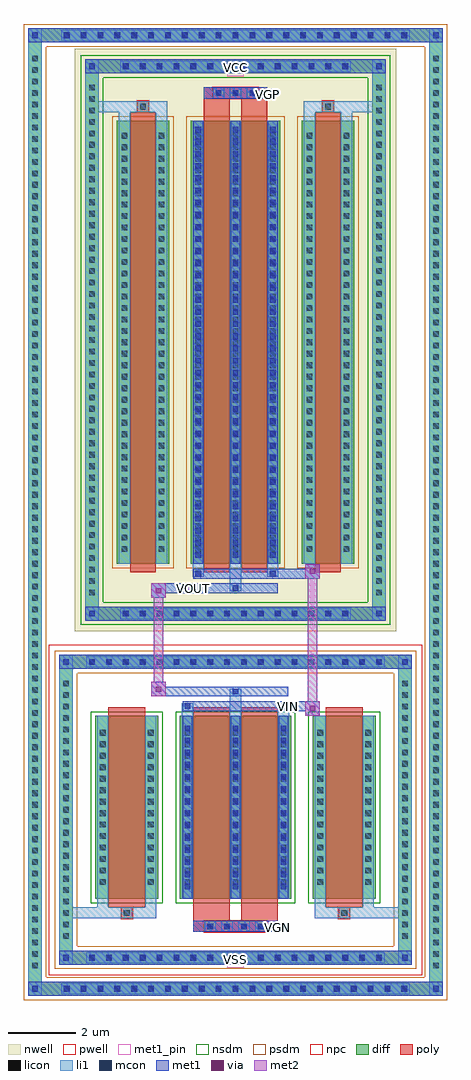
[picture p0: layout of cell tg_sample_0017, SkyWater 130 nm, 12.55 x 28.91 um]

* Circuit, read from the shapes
.subckt tg_sample_0017 VCC VGN VGP VIN VOUT VSS
XM1 VSS VSS VSS VSUBS sky130_fd_pr__nfet_01v8 w=5.42 l=1.09 m=2
XM2 VOUT VGN VIN VSUBS sky130_fd_pr__nfet_01v8 w=5.42 l=1.09 m=2
XM3 VCC VCC VCC n1 sky130_fd_pr__pfet_01v8 w=13.13 l=0.77 m=2
XM4 VOUT VGP VIN n1 sky130_fd_pr__pfet_01v8 w=13.13 l=0.77 m=2
.ends

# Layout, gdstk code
import gdstk
lib = gdstk.Library(unit=1e-6, precision=5e-09)
def R(c, l, rs):  # rectangles x0, y0, x1, y1
    for r in rs: c.add(gdstk.rectangle(r[:2], r[2:], *l))
def A(c, l, x, y, w, h, nx, ny, dx, dy):  # array of equal rectangles
    R(c, l, [(x+i*dx, y+j*dy, x+i*dx+w, y+j*dy+h) for i in range(nx) for j in range(ny)])
def P(c, l, *ps):  # polygons
    for p in ps: c.add(gdstk.Polygon(p, *l))
nwell = (64, 20)
pwell = (64, 44)
diff = (65, 20)
poly = (66, 20)
licon = (66, 44)
li1 = (67, 20)
mcon = (67, 44)
met1_pin = (68, 16)
met1 = (68, 20)
via = (68, 44)
met2 = (69, 20)
nsdm = (93, 44)
psdm = (94, 20)
npc = (95, 20)

tg_sample_0017 = lib.new_cell('tg_sample_0017')
R(tg_sample_0017, nwell, [(-4.765,5.295,4.765,22.535)])
R(tg_sample_0017, pwell, [(-5.535,-4.895,5.535,4.895)])
A(tg_sample_0017, diff, -5.205, -5.505, 0.41, 0.41, 21, 2, 0.5, 28.24)
A(tg_sample_0017, diff, -6.145, -4.815, 0.41, 0.41, 1, 80, 0, 0.34)
A(tg_sample_0017, diff, 5.735, -4.815, 0.41, 0.41, 1, 80, 0, 0.34)
A(tg_sample_0017, diff, -4.455, -4.585, 0.41, 0.41, 18, 2, 0.5, 8.76)
A(tg_sample_0017, diff, -5.225, -3.945, 0.41, 0.41, 1, 23, 0, 0.34)
A(tg_sample_0017, diff, 4.815, -3.945, 0.41, 0.41, 1, 23, 0, 0.34)
A(tg_sample_0017, diff, -3.455, 5.605, 0.41, 0.41, 14, 2, 0.5, 16.21)
A(tg_sample_0017, diff, -4.455, 6.23, 0.41, 0.41, 1, 45, 0, 0.34)
A(tg_sample_0017, diff, 4.045, 6.23, 0.41, 0.41, 1, 45, 0, 0.34)
R(tg_sample_0017, diff, [(-5.205,-5.505,5.205,-5.095), (-6.145,-4.815,-5.735,22.455), (5.735,-4.815,6.145,22.455), (-4.455,-4.585,4.455,-4.175), (-5.225,-3.945,-4.815,3.945), (4.815,-3.945,5.225,3.945), (-4.155,-2.64,-2.285,2.78), (-1.645,-2.64,1.645,2.78), (2.285,-2.64,4.155,2.78), (-4.455,4.175,4.455,4.585), (-3.455,5.605,3.455,6.015), (-4.455,6.23,-4.045,21.6), (4.045,6.23,4.455,21.6), (-3.515,7.28,-1.965,20.41), (-1.325,7.28,1.325,20.41), (1.965,7.28,3.515,20.41), (-3.455,21.815,3.455,22.225), (-5.205,22.735,5.205,23.145)])
P(tg_sample_0017, diff, [(5.225,4.585),(-5.225,4.585),(-5.225,-4.175),(-4.815,-4.175),(-4.815,4.175),(4.815,4.175),(4.815,-4.175),(-4.815,-4.175),(-5.225,-4.175),(-5.225,-4.585),(5.225,-4.585)],
  [(6.145,23.145),(-6.145,23.145),(-6.145,-5.095),(-5.735,-5.095),(-5.735,22.735),(5.735,22.735),(5.735,-5.095),(-5.735,-5.095),(-6.145,-5.095),(-6.145,-5.505),(6.145,-5.505)],
  [(4.455,5.605),(-4.455,5.605),(-4.455,21.815),(-4.045,21.815),(-4.045,6.015),(4.045,6.015),(4.045,21.815),(-4.045,21.815),(-4.455,21.815),(-4.455,22.225),(4.455,22.225)])
A(tg_sample_0017, poly, -0.915, -3.62, 0.33, 0.33, 4, 1, 0.5, 0)
A(tg_sample_0017, poly, -0.665, 21.065, 0.33, 0.33, 3, 1, 0.5, 0)
R(tg_sample_0017, poly, [(-1.255,-3.62,1.255,-3.29), (-1.255,-3.29,-0.165,-2.89), (0.165,-3.29,1.255,-2.89), (-3.385,-3.22,-3.055,-2.89), (-3.385,-3.22,-3.055,-2.89), (3.055,-3.22,3.385,-2.89), (3.055,-3.22,3.385,-2.89), (-3.765,-2.89,-2.675,3.03), (-1.255,-2.89,-0.165,3.03), (0.165,-2.89,1.255,3.03), (2.675,-2.89,3.765,3.03), (-3.125,7.03,-2.355,20.66), (-0.935,7.03,-0.165,20.66), (0.165,7.03,0.935,20.66), (2.355,7.03,3.125,20.66), (-2.905,20.66,-2.575,20.99), (-2.905,20.66,-2.575,20.99), (-0.935,20.66,-0.165,21.065), (0.165,20.66,0.935,21.065), (2.575,20.66,2.905,20.99), (2.575,20.66,2.905,20.99), (-0.935,21.065,0.935,21.395)])
A(tg_sample_0017, licon, -5.085, -5.385, 0.17, 0.17, 21, 2, 0.5, 28.24)
A(tg_sample_0017, licon, -6.025, -4.695, 0.17, 0.17, 1, 80, 0, 0.34)
A(tg_sample_0017, licon, 5.855, -4.695, 0.17, 0.17, 1, 80, 0, 0.34)
A(tg_sample_0017, licon, -4.335, -4.465, 0.17, 0.17, 18, 2, 0.5, 8.76)
A(tg_sample_0017, licon, -5.105, -3.825, 0.17, 0.17, 1, 23, 0, 0.34)
A(tg_sample_0017, licon, 4.935, -3.825, 0.17, 0.17, 1, 23, 0, 0.34)
A(tg_sample_0017, licon, -0.835, -3.54, 0.17, 0.17, 4, 1, 0.5, 0)
A(tg_sample_0017, licon, -4.015, -2.225, 0.17, 0.17, 1, 14, 0, 0.34)
A(tg_sample_0017, licon, -2.595, -2.225, 0.17, 0.17, 1, 14, 0, 0.34)
A(tg_sample_0017, licon, -1.505, -2.225, 0.17, 0.17, 3, 14, 1.42, 0.34)
A(tg_sample_0017, licon, 2.425, -2.225, 0.17, 0.17, 1, 14, 0, 0.34)
A(tg_sample_0017, licon, 3.845, -2.225, 0.17, 0.17, 1, 14, 0, 0.34)
A(tg_sample_0017, licon, -3.335, 5.725, 0.17, 0.17, 14, 2, 0.5, 16.21)
A(tg_sample_0017, licon, -4.335, 6.35, 0.17, 0.17, 1, 45, 0, 0.34)
A(tg_sample_0017, licon, 4.165, 6.35, 0.17, 0.17, 1, 45, 0, 0.34)
A(tg_sample_0017, licon, -3.375, 7.64, 0.17, 0.17, 1, 37, 0, 0.34)
A(tg_sample_0017, licon, -2.275, 7.64, 0.17, 0.17, 1, 37, 0, 0.34)
A(tg_sample_0017, licon, -1.185, 7.64, 0.17, 0.17, 3, 37, 1.1, 0.34)
A(tg_sample_0017, licon, 2.105, 7.64, 0.17, 0.17, 1, 37, 0, 0.34)
A(tg_sample_0017, licon, 3.205, 7.64, 0.17, 0.17, 1, 37, 0, 0.34)
A(tg_sample_0017, licon, -0.585, 21.145, 0.17, 0.17, 3, 1, 0.5, 0)
R(tg_sample_0017, licon, [(-3.305,-3.14,-3.135,-2.97), (3.135,-3.14,3.305,-2.97), (-2.825,20.74,-2.655,20.91), (2.655,20.74,2.825,20.91)])
A(tg_sample_0017, li1, -5.165, -5.465, 0.33, 0.33, 21, 2, 0.5, 28.24)
A(tg_sample_0017, li1, -6.105, -4.775, 0.33, 0.33, 1, 80, 0, 0.34)
A(tg_sample_0017, li1, 5.775, -4.775, 0.33, 0.33, 1, 80, 0, 0.34)
A(tg_sample_0017, li1, -4.415, -4.545, 0.33, 0.33, 18, 2, 0.5, 8.76)
A(tg_sample_0017, li1, -5.185, -3.905, 0.33, 0.33, 1, 23, 0, 0.34)
A(tg_sample_0017, li1, 4.855, -3.905, 0.33, 0.33, 1, 23, 0, 0.34)
A(tg_sample_0017, li1, -0.915, -3.62, 0.33, 0.33, 4, 1, 0.5, 0)
A(tg_sample_0017, li1, -1.585, -2.64, 0.33, 5.42, 3, 1, 1.42, 0)
A(tg_sample_0017, li1, -1.505, -2.355, 0.17, 0.17, 3, 14, 1.42, 0.36)
A(tg_sample_0017, li1, -1.505, -2.355, 0.17, 4.85, 3, 1, 1.42, 0)
A(tg_sample_0017, li1, -4.095, -2.305, 0.33, 0.33, 1, 14, 0, 0.34)
A(tg_sample_0017, li1, -2.675, -2.305, 0.33, 0.33, 1, 14, 0, 0.34)
A(tg_sample_0017, li1, -1.585, -2.305, 0.33, 0.33, 3, 14, 1.42, 0.34)
A(tg_sample_0017, li1, 2.345, -2.305, 0.33, 0.33, 1, 14, 0, 0.34)
A(tg_sample_0017, li1, 3.765, -2.305, 0.33, 0.33, 1, 14, 0, 0.34)
A(tg_sample_0017, li1, -3.415, 5.645, 0.33, 0.33, 14, 2, 0.5, 16.21)
A(tg_sample_0017, li1, -4.415, 6.27, 0.33, 0.33, 1, 45, 0, 0.34)
A(tg_sample_0017, li1, 4.085, 6.27, 0.33, 0.33, 1, 45, 0, 0.34)
A(tg_sample_0017, li1, -1.265, 7.28, 0.33, 13.13, 3, 1, 1.1, 0)
A(tg_sample_0017, li1, -1.185, 7.46, 0.17, 0.17, 3, 36, 1.1, 0.36)
A(tg_sample_0017, li1, -1.185, 7.46, 0.17, 12.77, 3, 1, 1.1, 0)
A(tg_sample_0017, li1, -3.455, 7.56, 0.33, 0.33, 1, 37, 0, 0.34)
A(tg_sample_0017, li1, -2.355, 7.56, 0.33, 0.33, 1, 37, 0, 0.34)
A(tg_sample_0017, li1, -1.265, 7.56, 0.33, 0.33, 3, 37, 1.1, 0.34)
A(tg_sample_0017, li1, 2.025, 7.56, 0.33, 0.33, 1, 37, 0, 0.34)
A(tg_sample_0017, li1, 3.125, 7.56, 0.33, 0.33, 1, 37, 0, 0.34)
A(tg_sample_0017, li1, -0.665, 21.065, 0.33, 0.33, 3, 1, 0.5, 0)
R(tg_sample_0017, li1, [(-6.145,-5.505,-5.735,-5.095), (5.735,-5.505,6.145,-5.095), (-5.165,-5.465,5.165,-5.135), (-6.025,-5.385,-5.855,-5.215), (-6.025,-5.385,-5.855,-5.215), (5.855,-5.385,6.025,-5.215), (5.855,-5.385,6.025,-5.215), (-6.145,-5.095,-5.735,22.735), (5.735,-5.095,6.145,22.735), (-5.225,-4.585,-4.815,-4.175), (4.815,-4.585,5.225,-4.175), (-4.415,-4.545,4.415,-4.215), (-5.105,-4.465,-4.935,-4.295), (-5.105,-4.465,-4.935,-4.295), (4.935,-4.465,5.105,-4.295), (4.935,-4.465,5.105,-4.295), (-5.225,-4.175,-4.815,4.175), (4.815,-4.175,5.225,4.175), (-5.225,-3.22,-3.385,-2.89), (-4.095,-3.22,-3.385,-2.89), (-4.095,-3.22,-3.765,-2.64), (-3.385,-3.22,-3.055,-2.89), (-3.055,-3.22,-2.345,-2.89), (-2.675,-3.22,-2.345,-2.64), (2.345,-3.22,3.055,-2.89), (2.345,-3.22,2.675,-2.64), (3.055,-3.22,3.385,-2.89), (3.055,-3.22,5.225,-2.89), (3.385,-3.22,4.095,-2.89), (3.765,-3.22,4.095,-2.64), (-4.095,-2.64,-3.765,2.78), (-2.675,-2.64,-2.345,2.78), (2.345,-2.64,2.675,2.78), (3.765,-2.64,4.095,2.78), (-1.585,2.78,-1.255,3.155), (-0.165,2.78,0.165,3.585), (1.255,2.78,1.585,3.155), (-1.505,2.985,-1.335,3.155), (1.335,2.985,1.505,3.155), (-0.085,3.415,0.085,3.585), (-5.225,4.175,-4.815,4.585), (4.815,4.175,5.225,4.585), (-4.415,4.215,4.415,4.545), (-5.105,4.295,-4.935,4.465), (-5.105,4.295,-4.935,4.465), (4.935,4.295,5.105,4.465), (4.935,4.295,5.105,4.465), (-4.455,5.605,-4.045,6.015), (4.045,5.605,4.455,6.015), (-3.415,5.645,3.415,5.975), (-4.335,5.725,-4.165,5.895), (-4.335,5.725,-4.165,5.895), (4.165,5.725,4.335,5.895), (4.165,5.725,4.335,5.895), (-4.455,6.015,-4.045,21.815), (4.045,6.015,4.455,21.815), (-0.165,6.475,0.165,7.28), (-0.085,6.475,0.085,6.645), (-1.265,6.905,-0.935,7.28), (-1.185,6.905,-1.015,7.075), (0.935,6.905,1.265,7.28), (1.015,6.905,1.185,7.075), (-3.455,7.28,-3.125,20.41), (-2.355,7.28,-2.025,20.41), (2.025,7.28,2.355,20.41), (3.125,7.28,3.455,20.41), (-3.455,20.41,-3.125,20.99), (-2.355,20.41,-2.025,20.99), (2.025,20.41,2.355,20.99), (3.125,20.41,3.455,20.99), (-4.455,20.66,-2.905,20.99), (-3.455,20.66,-2.905,20.99), (-2.905,20.66,-2.575,20.99), (-2.575,20.66,-2.025,20.99), (2.025,20.66,2.575,20.99), (2.575,20.66,2.905,20.99), (2.575,20.66,4.455,20.99), (2.905,20.66,3.455,20.99), (-4.455,21.815,-4.045,22.225), (4.045,21.815,4.455,22.225), (-3.415,21.855,3.415,22.185), (-4.335,21.935,-4.165,22.105), (-4.335,21.935,-4.165,22.105), (4.165,21.935,4.335,22.105), (4.165,21.935,4.335,22.105), (-6.145,22.735,-5.735,23.145), (5.735,22.735,6.145,23.145), (-5.165,22.775,5.165,23.105), (-6.025,22.855,-5.855,23.025), (-6.025,22.855,-5.855,23.025), (5.855,22.855,6.025,23.025), (5.855,22.855,6.025,23.025)])
A(tg_sample_0017, mcon, -5.085, -5.385, 0.17, 0.17, 21, 2, 0.5, 28.24)
A(tg_sample_0017, mcon, -4.335, -4.465, 0.17, 0.17, 18, 2, 0.5, 8.76)
A(tg_sample_0017, mcon, -0.835, -3.54, 0.17, 0.17, 4, 1, 0.5, 0)
A(tg_sample_0017, mcon, -1.505, -2.355, 0.17, 0.17, 3, 14, 1.42, 0.36)
A(tg_sample_0017, mcon, -3.335, 5.725, 0.17, 0.17, 14, 2, 0.5, 16.21)
A(tg_sample_0017, mcon, -1.185, 7.46, 0.17, 0.17, 3, 36, 1.1, 0.36)
A(tg_sample_0017, mcon, -0.585, 21.145, 0.17, 0.17, 3, 1, 0.5, 0)
R(tg_sample_0017, mcon, [(-6.025,-5.385,-5.855,-5.215), (5.855,-5.385,6.025,-5.215), (-5.105,-4.465,-4.935,-4.295), (4.935,-4.465,5.105,-4.295), (-1.505,2.985,-1.335,3.155), (1.335,2.985,1.505,3.155), (-0.085,3.415,0.085,3.585), (-5.105,4.295,-4.935,4.465), (4.935,4.295,5.105,4.465), (-4.335,5.725,-4.165,5.895), (4.165,5.725,4.335,5.895), (-0.085,6.475,0.085,6.645), (-1.185,6.905,-1.015,7.075), (1.015,6.905,1.185,7.075), (-4.335,21.935,-4.165,22.105), (4.165,21.935,4.335,22.105), (-6.025,22.855,-5.855,23.025), (5.855,22.855,6.025,23.025)])
R(tg_sample_0017, met1_pin, [(-0.25,-4.675,0.25,-4.175), (1.12,-3.62,1.39,-3.35), (1.43,2.925,1.7,3.195), (-1.38,6.415,-1.11,6.685), (0.8,21.065,1.07,21.335), (-0.25,21.725,0.25,22.225)])
A(tg_sample_0017, met1, -5.145, -5.445, 0.29, 0.29, 21, 2, 0.5, 28.24)
A(tg_sample_0017, met1, -4.395, -4.525, 0.29, 0.29, 18, 2, 0.5, 8.76)
A(tg_sample_0017, met1, -0.895, -3.6, 0.29, 0.29, 4, 1, 0.5, 0)
A(tg_sample_0017, met1, -1.565, -2.64, 0.29, 5.42, 3, 1, 1.42, 0)
A(tg_sample_0017, met1, -1.565, -2.415, 0.29, 0.29, 3, 14, 1.42, 0.36)
A(tg_sample_0017, met1, -3.395, 5.665, 0.29, 0.29, 14, 2, 0.5, 16.21)
A(tg_sample_0017, met1, -1.245, 7.28, 0.29, 13.13, 3, 1, 1.1, 0)
A(tg_sample_0017, met1, -1.245, 7.4, 0.29, 0.29, 3, 36, 1.1, 0.36)
A(tg_sample_0017, met1, -0.645, 21.085, 0.29, 0.29, 3, 1, 0.5, 0)
R(tg_sample_0017, met1, [(-6.145,-5.505,-5.735,-5.095), (-6.145,-5.505,-5.735,-5.095), (-5.735,-5.505,5.735,-5.095), (5.735,-5.505,6.145,-5.095), (5.735,-5.505,6.145,-5.095), (-6.085,-5.445,-5.795,-5.155), (5.795,-5.445,6.085,-5.155), (-5.225,-4.585,-4.815,-4.175), (-5.225,-4.585,-4.815,-4.175), (-4.815,-4.585,4.815,-4.175), (4.815,-4.585,5.225,-4.175), (4.815,-4.585,5.225,-4.175), (-5.165,-4.525,-4.875,-4.235), (4.875,-4.525,5.165,-4.235), (-1.255,-3.62,1.255,-3.29), (2.065,2.785,2.495,3.215), (-1.565,2.925,-1.275,3.215), (-1.565,2.925,1.565,3.215), (1.275,2.925,1.565,3.215), (1.565,2.925,2.495,3.215), (-2.495,3.355,-1.565,3.645), (-2.495,3.355,-2.065,3.785), (-1.565,3.355,1.565,3.645), (-0.145,3.355,0.145,3.645), (-5.225,4.175,-4.815,4.585), (-5.225,4.175,-4.815,4.585), (-4.815,4.175,4.815,4.585), (4.815,4.175,5.225,4.585), (4.815,4.175,5.225,4.585), (-5.165,4.235,-4.875,4.525), (4.875,4.235,5.165,4.525), (-4.455,5.605,-4.045,6.015), (-4.455,5.605,-4.045,6.015), (-4.045,5.605,4.045,6.015), (4.045,5.605,4.455,6.015), (4.045,5.605,4.455,6.015), (-4.395,5.665,-4.105,5.955), (4.105,5.665,4.395,5.955), (-2.495,6.275,-2.065,6.705), (-2.495,6.415,-1.245,6.705), (-1.245,6.415,1.245,6.705), (-0.145,6.415,0.145,6.705), (-1.245,6.845,-0.955,7.135), (-1.245,6.845,1.245,7.135), (0.955,6.845,1.245,7.135), (1.245,6.845,2.495,7.135), (2.065,6.845,2.495,7.275), (-0.935,21.065,0.935,21.395), (-4.455,21.815,-4.045,22.225), (-4.455,21.815,-4.045,22.225), (-4.045,21.815,4.045,22.225), (4.045,21.815,4.455,22.225), (4.045,21.815,4.455,22.225), (-4.395,21.875,-4.105,22.165), (4.105,21.875,4.395,22.165), (-6.145,22.735,-5.735,23.145), (-6.145,22.735,-5.735,23.145), (-5.735,22.735,5.735,23.145), (5.735,22.735,6.145,23.145), (5.735,22.735,6.145,23.145), (-6.085,22.795,-5.795,23.085), (5.795,22.795,6.085,23.085)])
R(tg_sample_0017, via, [(2.205,2.925,2.355,3.075), (-2.355,3.495,-2.205,3.645), (-2.355,6.415,-2.205,6.565), (2.205,6.985,2.355,7.135)])
R(tg_sample_0017, met2, [(2.065,2.785,2.495,3.215), (2.135,2.785,2.425,7.275), (2.425,2.785,2.495,3.215), (2.115,2.835,2.445,3.165), (-2.495,3.355,-2.065,3.785), (-2.425,3.355,-2.135,6.705), (-2.135,3.355,-2.065,3.785), (-2.445,3.405,-2.115,3.735), (-2.495,6.275,-2.065,6.705), (-2.135,6.275,-2.065,6.705), (-2.445,6.325,-2.115,6.655), (2.065,6.845,2.495,7.275), (2.425,6.845,2.495,7.275), (2.115,6.895,2.445,7.225)])
R(tg_sample_0017, nsdm, [(-4.285,-2.77,-2.155,2.91), (-1.775,-2.77,1.775,2.91), (2.155,-2.77,4.285,2.91)])
P(tg_sample_0017, nsdm, [(4.585,5.475),(-4.585,5.475),(-4.585,21.685),(-3.915,21.685),(-3.915,6.145),(3.915,6.145),(3.915,21.685),(-3.915,21.685),(-4.585,21.685),(-4.585,22.355),(4.585,22.355)])
R(tg_sample_0017, psdm, [(-3.645,7.15,-1.835,20.54), (-1.455,7.15,1.455,20.54), (1.835,7.15,3.645,20.54)])
P(tg_sample_0017, psdm, [(5.355,4.715),(-5.355,4.715),(-5.355,-4.045),(-4.685,-4.045),(-4.685,4.045),(4.685,4.045),(4.685,-4.045),(-4.685,-4.045),(-5.355,-4.045),(-5.355,-4.715),(5.355,-4.715)],
  [(6.275,23.275),(-6.275,23.275),(-6.275,-4.965),(-5.605,-4.965),(-5.605,22.605),(5.605,22.605),(5.605,-4.965),(-5.605,-4.965),(-6.275,-4.965),(-6.275,-5.635),(6.275,-5.635)])
A(tg_sample_0017, npc, -0.935, -3.64, 0.37, 0.37, 4, 1, 0.5, 0)
A(tg_sample_0017, npc, -0.685, 21.045, 0.37, 0.37, 3, 1, 0.5, 0)
R(tg_sample_0017, npc, [(-0.935,-3.64,-0.065,-3.27), (-0.935,-3.64,-0.065,-3.27), (-0.435,-3.64,0.435,-3.27), (-0.435,-3.64,0.435,-3.27), (0.065,-3.64,0.935,-3.27), (0.065,-3.64,0.935,-3.27), (-3.405,-3.24,-3.035,-2.87), (3.035,-3.24,3.405,-2.87), (-2.925,20.64,-2.555,21.01), (2.555,20.64,2.925,21.01), (-0.685,21.045,0.185,21.415), (-0.685,21.045,0.185,21.415), (-0.185,21.045,0.685,21.415), (-0.185,21.045,0.685,21.415)])
tg_sample_0017.add(gdstk.Label('VIN', (1.565,3.06), layer=68, texttype=5))
tg_sample_0017.add(gdstk.Label('VGN', (1.255,-3.485), layer=68, texttype=5))
tg_sample_0017.add(gdstk.Label('VGP', (0.935,21.2), layer=68, texttype=5))
tg_sample_0017.add(gdstk.Label('VSS', (0,-4.425), layer=68, texttype=5))
tg_sample_0017.add(gdstk.Label('VCC', (0,21.975), layer=68, texttype=5))
tg_sample_0017.add(gdstk.Label('VOUT', (-1.245,6.55), layer=68, texttype=5))

lib.write_gds('tg_sample_0017.gds')
